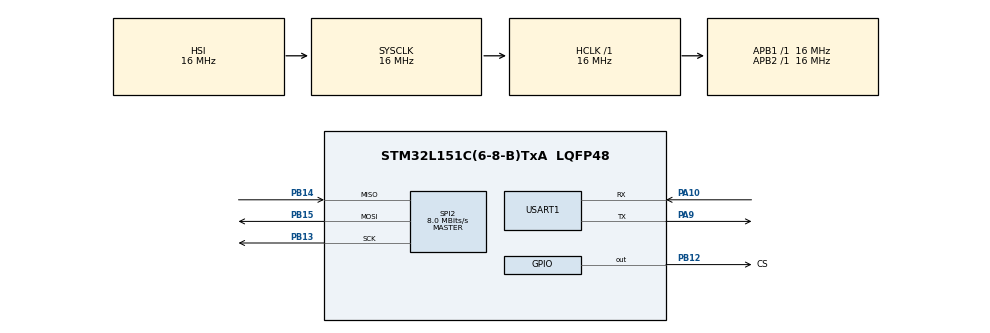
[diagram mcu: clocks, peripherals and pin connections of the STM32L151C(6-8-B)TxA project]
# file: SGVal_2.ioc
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Mcu.Family=STM32L1
Mcu.Name=STM32L151C(6-8-B)TxA
Mcu.Package=LQFP48
NVIC.PriorityGroup=NVIC_PRIORITYGROUP_4
NVIC.SPI2_IRQn=true\:0\:0\:false\:false\:true\:true\:true\:true
NVIC.USART1_IRQn=true\:0\:0\:false\:false\:true\:true\:true\:true
PA10.Mode=Asynchronous
PA10.Signal=USART1_RX
PA13.Mode=Serial_Wire
PA13.Signal=SYS_JTMS-SWDIO
PA14.Mode=Serial_Wire
PA14.Signal=SYS_JTCK-SWCLK
PA9.Mode=Asynchronous
PA9.Signal=USART1_TX
PB12.GPIO_Label=CS
PB12.GPIO_PuPd=GPIO_PULLUP
PB12.GPIO_Speed=GPIO_SPEED_FREQ_MEDIUM
PB12.Signal=GPIO_Output
PB13.Mode=Full_Duplex_Master
PB13.Signal=SPI2_SCK
PB14.Mode=Full_Duplex_Master
PB14.Signal=SPI2_MISO
PB15.Mode=Full_Duplex_Master
PB15.Signal=SPI2_MOSI
ProjectManager.HeapSize=0x200
ProjectManager.StackSize=0x400
ProjectManager.TargetToolchain=STM32CubeIDE
RCC.AHBFreq_Value=16000000
RCC.APB1Freq_Value=16000000
RCC.APB1TimFreq_Value=16000000
RCC.APB2Freq_Value=16000000
RCC.APB2TimFreq_Value=16000000
RCC.HCLKFreq_Value=16000000
RCC.HSE_VALUE=24000000
RCC.HSI_VALUE=16000000
RCC.LSE_VALUE=32768
RCC.MSI_VALUE=2097000
RCC.SYSCLKFreq_VALUE=16000000
RCC.SYSCLKSource=RCC_SYSCLKSOURCE_HSI
RCC.VCOOutputFreq_Value=48000000
SPI2.CalculateBaudRate=8.0 MBits/s
SPI2.Direction=SPI_DIRECTION_2LINES
SPI2.Mode=SPI_MODE_MASTER
SPI2.VirtualType=VM_MASTER
USART1.VirtualMode=VM_ASYNC
board=custom

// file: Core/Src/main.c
/* USER CODE BEGIN Header */
/**
  ******************************************************************************
  * @file           : main.c
  * @brief          : Main program body
  ******************************************************************************
  * @attention
  *
  * Copyright (c) 2023 STMicroelectronics.
  * All rights reserved.
  *
  * This software is licensed under terms that can be found in the LICENSE file
  * in the root directory of this software component.
  * If no LICENSE file comes with this software, it is provided AS-IS.
  *
  ******************************************************************************
  */
/* USER CODE END Header */
#include "main.h"

/* USER CODE BEGIN Includes */
#include "w25qxx.h"
#include "w25qxxConf.h"
#include "flash.h"
#include "string.h"
#include <stdio.h>
/* USER CODE END Includes */

/* USER CODE BEGIN PTD */
#define  ADDRESS_DATA_HOST 0x08004000
#define  ADDRESS_DATA_PORT 0x08008000
#define  ADDRESS_DATA_MQTT_PORT 0x0800C000
#define  ADDRESS_DATA_USERNAME 0x08010000
#define  ADDRESS_DATA_PASSWORD 0x08014000
#define  ADDRESS_DATA_DEVICE_PROFILE 0x08018000

#define bufferSize 20
char arr_r[20]="";
char config_buffers[20]={};
char Pass_Config_1[6]="config";
char Rx_Config_1[bufferSize];

char Pass_Word[4]="abcd";
char Rx_Pass_Config_2[4];

char Host[]="seval.ddns.net";
char Port[]="8080";
char MQTT_port[]="1883";
char Username[]="Device001";
char Password[]="test";
char Device_Profile[]="SV1";
char Rx_config[20];
int flag_config_1 = 0;
size_t sizeOfValueCf[6]={};

const char* configNames[] = {
    "HOST",
    "PORT",
    "MQTT_PORT",
    "USERNAME",
    "PASSWORD",
    "DEVICE_PROFILE"
};
uint32_t configAddresses[] = {
    ADDRESS_DATA_HOST,
    ADDRESS_DATA_PORT,
    ADDRESS_DATA_MQTT_PORT,
    ADDRESS_DATA_USERNAME,
    ADDRESS_DATA_PASSWORD,
    ADDRESS_DATA_DEVICE_PROFILE
};

char Profile[4]={};
char Device_Profile_1[]="SV1";
char Device_Profile_2[]="SV2";
char Device_Profile_3[]="SV3";

#define Register 100
#define FAIL_SIZE 10
uint64_t number_byte1=0;
uint64_t number_byte2=0;
uint64_t number_byte3=0;
uint64_t number_page=0;
int flag_read = 0;
int flag_EraseChip = 0;
int mode=1;
//SV1: (16bytes)
uint16_t PI_1 = 8000;
uint16_t PI_2 = 7000;
uint8_t DI_1_485[9]={0x01, 0x03, 0x04, 0x01, 0x02, 0xFF, 0x33, 0x5B , 0xEA};
uint16_t AI_1_420=1500;
uint16_t AI_2_420=1500;
uint16_t AI_3_420=1500;
uint16_t AI_1_485=1500;
uint16_t AI_2_485=2000;
uint16_t AI_3_485=500;
uint16_t AI_4_485=400;
uint8_t Battery=99;
uint8_t Write1[16];
uint8_t Write2[18];
uint8_t arrtest2[256];

uint8_t Read_DI_1_485[9];
 uint32_t Page_address = 0x00000000;
 uint32_t Number_byte_address = 0x00000000;
 int maxRetryCount = 3;
 int retryCount = 0;
/* USER CODE END PTD */

SPI_HandleTypeDef hspi2;

UART_HandleTypeDef huart1;

void SystemClock_Config(void);
static void MX_GPIO_Init(void);
static void MX_USART1_UART_Init(void);
static void MX_SPI2_Init(void);

/* USER CODE BEGIN 0 */
void HAL_UART_RxCpltCallback(UART_HandleTypeDef *huart){
	if(huart->Instance == USART1){
		flag_config_1 = 1;
		uint8_t	 receivedChar;
		printf("+Start Config (Enter)\n");
		size_t index = 0;
		do {
			HAL_UART_Receive(&huart1, &receivedChar, 1, 2000);
			if (receivedChar == '\n') {
				printf("+Pass Config:\n");
				break;
			}
		} while (1);
		memset(Rx_Config_1,'\0',sizeof(Rx_Config_1));
		do {
			HAL_UART_Receive(&huart1, &receivedChar, 1, 2000);
			if (receivedChar == '\n' || index >= bufferSize - 1) {
				Rx_Config_1[index] = '\0'; // Kết thúc chuỗi
				break;
			}
			Rx_Config_1[index] = receivedChar;
			index++;
		} while (1);
		size_t len = strlen(Rx_Config_1);
		if (len > 0 && Rx_Config_1[len - 1] == '\r') {
			Rx_Config_1[len - 1] = '\0';
		}
		if (strcmp(Rx_Config_1,Pass_Config_1)==0) {
				printf("STM32 PassConfig:Done\n");

				while(retryCount<maxRetryCount){
					printf("+Enter Password:\n");
					flag_config_1=1;
					index = 0;
					memset(Rx_Config_1,'\0',sizeof(Rx_Config_1));
					do {
						HAL_UART_Receive(&huart1, &receivedChar, 1, 2000);
						if (receivedChar == '\n' || index >= bufferSize - 1) {
							Rx_Config_1[index] = '\0'; // Kết thúc chuỗi
							break;
						}
						Rx_Config_1[index] = receivedChar;
						index++;
					} while (1);

					size_t len1 = strlen(Rx_Config_1);
					if (len1 > 0 && Rx_Config_1[len1 - 1] == '\r') {
						Rx_Config_1[len1 - 1] = '\0';
					}
					if (len1<4) {
						flag_config_1 = 0;
					}
					else {
						for (int i = 0; i < len1-1; ++i) {
							if (Rx_Config_1[i]!=Pass_Word[i]) {
								flag_config_1 = 0;
								break;
							}
						}
					}

					if (flag_config_1 == 0) {
						   printf("STM32 Password:Fail\n");
						   retryCount++;
					   }
					else {
						   printf("STM32 Password:Done\n");
							//Xoa vung nho
						   for (int i = 0; i < 6; ++i) {
							Flash_Erase(configAddresses[i]);
						   }
							for (int i = 0; i < 6; ++i) {
								ConfigAndPrint(configNames[i], configAddresses[i]);
								sizeOfValueCf[i] = index;
							}
							PrintConfig_All();
							flag_EraseChip=1;
							number_byte1=0;
							number_byte2=0;
							number_byte3=0;
							number_page=0;
							retryCount=10;
					   }
					}
					retryCount=0;
				}
		        else {
					printf("STM32 PassConfig:Fail\n");
				}
		HAL_UART_Receive_IT(&huart1, (uint8_t*)Rx_Config_1, bufferSize);
    }

}

/* USER CODE END 0 */

int main(void)
{

  /* MCU Configuration--------------------------------------------------------*/

  /* Reset of all peripherals, Initializes the Flash interface and the Systick. */
  HAL_Init();

  /* USER CODE BEGIN Init */
  W25qxx_Init();
  /* USER CODE END Init */

  /* Configure the system clock */
  SystemClock_Config();

  /* Initialize all configured peripherals */
  MX_GPIO_Init();
  MX_USART1_UART_Init();
  MX_SPI2_Init();
  /* USER CODE BEGIN 2 */
  for (int i = 0; i < 6; ++i) {
	Flash_Erase(configAddresses[i]);
  }
// in vao flash
  Flash_Write_Array(ADDRESS_DATA_HOST, (uint8_t*)Host, sizeof(Host));
  Flash_Write_Array(ADDRESS_DATA_PORT, (uint8_t*)Port, sizeof(Port));
  Flash_Write_Array(ADDRESS_DATA_MQTT_PORT, (uint8_t*)MQTT_port, sizeof(MQTT_port));
  Flash_Write_Array(ADDRESS_DATA_USERNAME, (uint8_t*)Username, sizeof(Username));
  Flash_Write_Array(ADDRESS_DATA_PASSWORD, (uint8_t*)Password, sizeof(Password));
  Flash_Write_Array(ADDRESS_DATA_DEVICE_PROFILE, (uint8_t*)Device_Profile, sizeof(Device_Profile));
  //in ra man hinh
  PrintConfig_All();

  HAL_UART_Receive_IT(&huart1, (uint8_t*)Rx_Config_1, bufferSize);
  flag_EraseChip=1;
  /* USER CODE END 2 */

  /* Infinite loop */
  while (1)
  {

    /* USER CODE BEGIN 3 */
	  if (memcmp(Device_Profile_1, Profile, 3) == 0) {
		  if (flag_EraseChip==1) {
			  flag_EraseChip=0;
			  printf("Xoa chip\n");
//			  W25qxx_EraseChip();
		}
	 		  Write1[0]=PI_1;
	 		  Write1[1]=(PI_1>>8)&0xFF;
	 		  Write1[2]=PI_2;
	 		  Write1[3]=(PI_2>>8)&0xFF;
	 		  for (int i = 0; i < 9; i++) {
	 			Write1[i + 4] = DI_1_485[i];
	 		  }
	 		  Write1[13]=AI_2_420;
	 		  Write1[14]=(AI_2_420>>8)&0xFF;
	 		  Write1[15]=Battery;
			  W25qxx_WritePage(Write1, 0x00000000+number_page, 0x00000000+number_byte1, sizeof(Write1));
			  number_byte1+=16;
			  if (number_byte1 >=256 ) {
				number_page++;
				number_byte1=0;
				  }
	 			  printf("Hello Device_Profile_1\n");
	 	  }
	 	  else if (memcmp(Device_Profile_2, Profile, 3) == 0) {
	 		  if (flag_EraseChip==1) {
	 			  flag_EraseChip=0;
	 			  printf("Xoa chip\n");
	 			  W25qxx_EraseChip();
	 		}

	 		  for (int i = 0; i < 9; i++) {
	 			Write2[i] = DI_1_485[i];
	 		  }
	 		Write2[9]=AI_1_485;
	 		Write2[10]=(AI_1_485>>8)&0xFF;
	 		Write2[11]=AI_2_485;
	 		Write2[12]=(AI_2_485>>8)&0xFF;
	 		Write2[13]=AI_3_485;
	 		Write2[14]=(AI_3_485>>8)&0xFF;
	 		Write2[15]=AI_4_485;
	 		Write2[16]=(AI_4_485>>8)&0xFF;
	 		Write2[17]=Battery;
			  W25qxx_WritePage(Write2, 0x00000000+number_page, 0x00000000+number_byte2, sizeof(Write2));
			  number_byte2+=18;
			  if (number_byte2 >256 ) {
				number_page++;
				number_byte2=0;
			  }

	 		  printf("Hello Device_Profile_2\n");
	 	  }
	 	  else if (memcmp(Device_Profile_3, Profile, 3) == 0) {
	 		  if (flag_EraseChip==1) {
	 			  flag_EraseChip=0;
	 			  printf("Xoa chip\n");
	 			  W25qxx_EraseChip();
	 		}

	 		  Write2[0]=PI_1;
	 		  Write2[1]=(PI_1>>8)&0xFF;
	 		  for (int i = 0; i < 9; i++) {
	 			Write2[i+2] = DI_1_485[i];
	 		  }
	 			Write2[11]=AI_1_420;
	 			Write2[12]=(AI_1_420>>8)&0xFF;
	 			Write2[13]=AI_2_420;
	 			Write2[14]=(AI_2_420>>8)&0xFF;
	 			Write2[15]=AI_3_420;
	 			Write2[16]=(AI_3_420>>8)&0xFF;
	 			Write2[17]=Battery;
			  W25qxx_WritePage(Write2, 0x00000000+number_page, 0x00000000+number_byte2, sizeof(Write2));
			  number_byte2+=18;
			  if (number_byte2 >256 ) {
				number_page++;
				number_byte2=0;
			  }

	 		  printf("Hello Device_Profile_3\n");
	 		}
	 	  else {
			printf("Device_Profile Fail\n");
		}
	  HAL_Delay(1000);
  }
  /* USER CODE END 3 */
}

void SystemClock_Config(void)
{
  RCC_OscInitTypeDef RCC_OscInitStruct = {0};
  RCC_ClkInitTypeDef RCC_ClkInitStruct = {0};

  /** Configure the main internal regulator output voltage
  */
  __HAL_PWR_VOLTAGESCALING_CONFIG(PWR_REGULATOR_VOLTAGE_SCALE1);

  /** Initializes the RCC Oscillators according to the specified parameters
  * in the RCC_OscInitTypeDef structure.
  */
  RCC_OscInitStruct.OscillatorType = RCC_OSCILLATORTYPE_HSI;
  RCC_OscInitStruct.HSIState = RCC_HSI_ON;
  RCC_OscInitStruct.HSICalibrationValue = RCC_HSICALIBRATION_DEFAULT;
  RCC_OscInitStruct.PLL.PLLState = RCC_PLL_NONE;
  if (HAL_RCC_OscConfig(&RCC_OscInitStruct) != HAL_OK)
  {
    Error_Handler();
  }

  /** Initializes the CPU, AHB and APB buses clocks
  */
  RCC_ClkInitStruct.ClockType = RCC_CLOCKTYPE_HCLK|RCC_CLOCKTYPE_SYSCLK
                              |RCC_CLOCKTYPE_PCLK1|RCC_CLOCKTYPE_PCLK2;
  RCC_ClkInitStruct.SYSCLKSource = RCC_SYSCLKSOURCE_HSI;
  RCC_ClkInitStruct.AHBCLKDivider = RCC_SYSCLK_DIV1;
  RCC_ClkInitStruct.APB1CLKDivider = RCC_HCLK_DIV1;
  RCC_ClkInitStruct.APB2CLKDivider = RCC_HCLK_DIV1;

  if (HAL_RCC_ClockConfig(&RCC_ClkInitStruct, FLASH_LATENCY_0) != HAL_OK)
  {
    Error_Handler();
  }
}

static void MX_SPI2_Init(void)
{

  /* SPI2 parameter configuration*/
  hspi2.Instance = SPI2;
  hspi2.Init.Mode = SPI_MODE_MASTER;
  hspi2.Init.Direction = SPI_DIRECTION_2LINES;
  hspi2.Init.DataSize = SPI_DATASIZE_8BIT;
  hspi2.Init.CLKPolarity = SPI_POLARITY_LOW;
  hspi2.Init.CLKPhase = SPI_PHASE_1EDGE;
  hspi2.Init.NSS = SPI_NSS_SOFT;
  hspi2.Init.BaudRatePrescaler = SPI_BAUDRATEPRESCALER_2;
  hspi2.Init.FirstBit = SPI_FIRSTBIT_MSB;
  hspi2.Init.TIMode = SPI_TIMODE_DISABLE;
  hspi2.Init.CRCCalculation = SPI_CRCCALCULATION_DISABLE;
  hspi2.Init.CRCPolynomial = 10;
  if (HAL_SPI_Init(&hspi2) != HAL_OK)
  {
    Error_Handler();
  }

}

static void MX_USART1_UART_Init(void)
{

  huart1.Instance = USART1;
  huart1.Init.BaudRate = 115200;
  huart1.Init.WordLength = UART_WORDLENGTH_8B;
  huart1.Init.StopBits = UART_STOPBITS_1;
  huart1.Init.Parity = UART_PARITY_NONE;
  huart1.Init.Mode = UART_MODE_TX_RX;
  huart1.Init.HwFlowCtl = UART_HWCONTROL_NONE;
  huart1.Init.OverSampling = UART_OVERSAMPLING_16;
  if (HAL_UART_Init(&huart1) != HAL_OK)
  {
    Error_Handler();
  }

}

static void MX_GPIO_Init(void)
{
  GPIO_InitTypeDef GPIO_InitStruct = {0};

  /* GPIO Ports Clock Enable */
  __HAL_RCC_GPIOB_CLK_ENABLE();
  __HAL_RCC_GPIOA_CLK_ENABLE();

  /*Configure GPIO pin Output Level */
  HAL_GPIO_WritePin(CS_GPIO_Port, CS_Pin, GPIO_PIN_RESET);

  /*Configure GPIO pin : CS_Pin */
  GPIO_InitStruct.Pin = CS_Pin;
  GPIO_InitStruct.Mode = GPIO_MODE_OUTPUT_PP;
  GPIO_InitStruct.Pull = GPIO_PULLUP;
  GPIO_InitStruct.Speed = GPIO_SPEED_FREQ_MEDIUM;
  HAL_GPIO_Init(CS_GPIO_Port, &GPIO_InitStruct);

}

/* USER CODE BEGIN 4 */

void ConfigAndPrint(const char *configName, uint32_t flashAddress) {

    uint8_t str2[50]="";
    sprintf(str2,"+Enter %s:\n", configName);
    HAL_UART_Transmit(&huart1, str2, sizeof(str2), 500);
    memset(str2, 0, sizeof(str2));
    uint8_t receivedChar;
    size_t index = 0;

    do {
        HAL_UART_Receive(&huart1, &receivedChar, 1, 2000);
        if (receivedChar == '\n' || index >= bufferSize - 1) {
            Rx_Config_1[index] = '\0'; // Kết thúc chuỗi
            break;
        }
        Rx_Config_1[index] = receivedChar;
        index++;
    } while (1);
    sprintf(str2,">%s\n", Rx_Config_1);
    HAL_UART_Transmit(&huart1, str2, sizeof(str2), 500);
    memset(str2, 0, sizeof(str2));

    Flash_Write_Array(flashAddress, (uint8_t*)&Rx_Config_1, index);
    memset(Rx_Config_1, 0, sizeof(Rx_Config_1));
    memset(arr_r, 0, sizeof(arr_r));

    sprintf(str2,"Done\n");
    HAL_UART_Transmit(&huart1, str2, sizeof(str2), 500);
    memset(str2, 0, sizeof(str2));

}

void PrintConfig(const char *value_config, uint32_t flashAddress,size_t value_size){
    Flash_Read_Array(flashAddress, (uint8_t*)&arr_r, value_size);
    uint8_t str2[50]="";
    sprintf(str2,"%s: %s\n",value_config, arr_r);
    HAL_UART_Transmit(&huart1, str2, sizeof(str2), 500);
    memset(arr_r, 0, sizeof(arr_r));
}
void PrintConfig_All(){
	  PrintConfig("HOST", ADDRESS_DATA_HOST,sizeof(Host));
	  PrintConfig("PORT", ADDRESS_DATA_PORT,sizeof(Port));
	  PrintConfig("MQTT_PORT", ADDRESS_DATA_MQTT_PORT,sizeof(MQTT_port));
	  PrintConfig("USERNAME", ADDRESS_DATA_USERNAME,sizeof(Username));
	  PrintConfig("PASSWORD", ADDRESS_DATA_PASSWORD,sizeof(Password));
	  PrintConfig("DEVICE_PROFILE", ADDRESS_DATA_DEVICE_PROFILE,sizeof(Device_Profile));
	  Flash_Read_Array(ADDRESS_DATA_DEVICE_PROFILE, (uint8_t*)&Profile, sizeof(Profile));
}
#if defined(__GNUC__)
int _write(int fd, char * ptr, int len)
{
  HAL_UART_Transmit(&huart1, (uint8_t *) ptr, len, HAL_MAX_DELAY);
  return len;
}
#elif defined (_ICCARM_)
#include "LowLevelIOInterface.h"
size_t __write(int handle, const unsigned char * buffer, size_t size)
{
  HAL_UART_Transmit(&huart1, (uint8_t *) buffer, size, HAL_MAX_DELAY);
  return size;
}
#elif defined (__CC_ARM)
int fputc(int ch, FILE *f)
{
    HAL_UART_Transmit(&huart1, (uint8_t *)&ch, 1, HAL_MAX_DELAY);
    return ch;
}
#endif
/* USER CODE END 4 */

void Error_Handler(void)
{
  __disable_irq();
  while (1)
  {
  }
}
